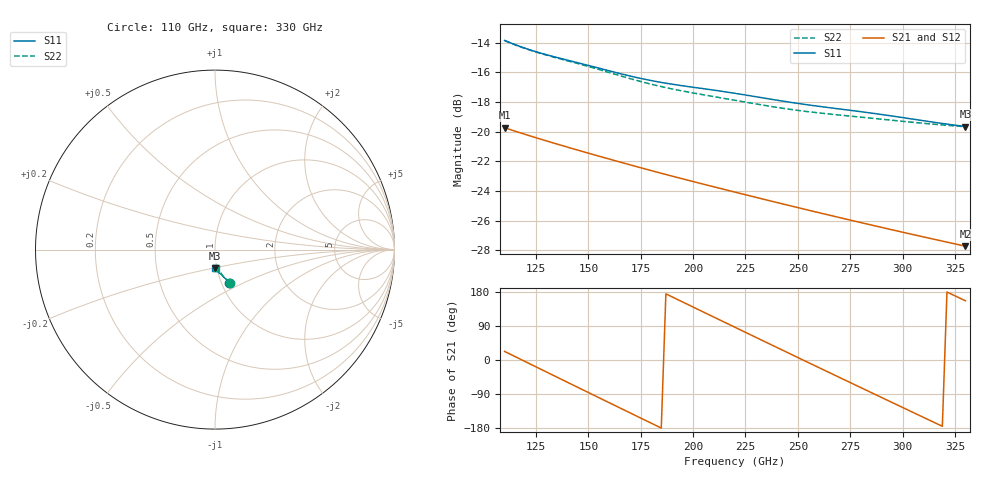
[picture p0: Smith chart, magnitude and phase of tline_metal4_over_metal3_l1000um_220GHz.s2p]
#  GHZ S DB R 50
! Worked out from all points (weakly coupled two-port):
!   101 points, 110 GHz to 330 GHz, reference 50 ohm
!   highest |S21| = -19.74 dB at 110 GHz (marker M1); lowest = -27.7 dB at 330 GHz (marker M2)
!   lowest |S11| = -19.7 dB at 330 GHz (marker M3), VSWR 1.23, Z = 48.8 - j10.3 ohm
!   |S11| at or under -10 dB: start of sweep to end of sweep
!   |S22| runs from -19.7 to -13.9 dB; largest |S21 - S12| = 8.3e-14
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110  -13.86 -66.8  -19.74 22.6  -19.74 22.6  -13.87 -66.4
116.6  -14.23 -67.4  -20.04 4.7  -20.04 4.7  -14.24 -67.1
125.4  -14.64 -68.2  -20.43 -19.2  -20.43 -19.2  -14.66 -67.9
136.4  -15.06 -69.4  -20.90 -49.0  -20.90 -49.0  -15.10 -69.2
147.4  -15.45 -70.8  -21.35 -78.8  -21.35 -78.8  -15.51 -70.8
156.2  -15.77 -72.0  -21.70 -102.6  -21.70 -102.6  -15.87 -72.1
167.2  -16.16 -73.2  -22.13 -132.3  -22.13 -132.3  -16.32 -73.4
176  -16.45 -74.0  -22.47 -155.9  -22.47 -155.9  -16.67 -74.2
184.8  -16.69 -74.7  -22.81 -179.5  -22.81 -179.5  -16.97 -74.8
193.6  -16.88 -75.5  -23.13 156.9  -23.13 156.9  -17.23 -75.3
204.6  -17.10 -76.8  -23.53 127.5  -23.53 127.5  -17.51 -76.2
213.4  -17.28 -77.9  -23.84 103.9  -23.84 103.9  -17.73 -76.9
220  -17.42 -78.8  -24.07 86.3  -24.07 86.3  -17.89 -77.5
228.8  -17.62 -80.0  -24.38 62.9  -24.38 62.9  -18.11 -78.2
239.8  -17.88 -81.4  -24.77 33.6  -24.77 33.6  -18.36 -79.0
248.6  -18.07 -82.3  -25.07 10.3  -25.07 10.3  -18.54 -79.5
257.4  -18.25 -83.2  -25.37 -13.0  -25.37 -13.0  -18.70 -80.1
268.4  -18.45 -84.4  -25.74 -42.1  -25.74 -42.1  -18.86 -80.8
277.2  -18.61 -85.4  -26.03 -65.3  -26.03 -65.3  -18.99 -81.6
294.8  -18.95 -87.5  -26.60 -111.6  -26.60 -111.6  -19.23 -83.2
312.4  -19.32 -89.3  -27.17 -157.7  -27.17 -157.7  -19.47 -84.7
330  -19.66 -90.6  -27.71 156.4  -27.71 156.4  -19.67 -86.3
